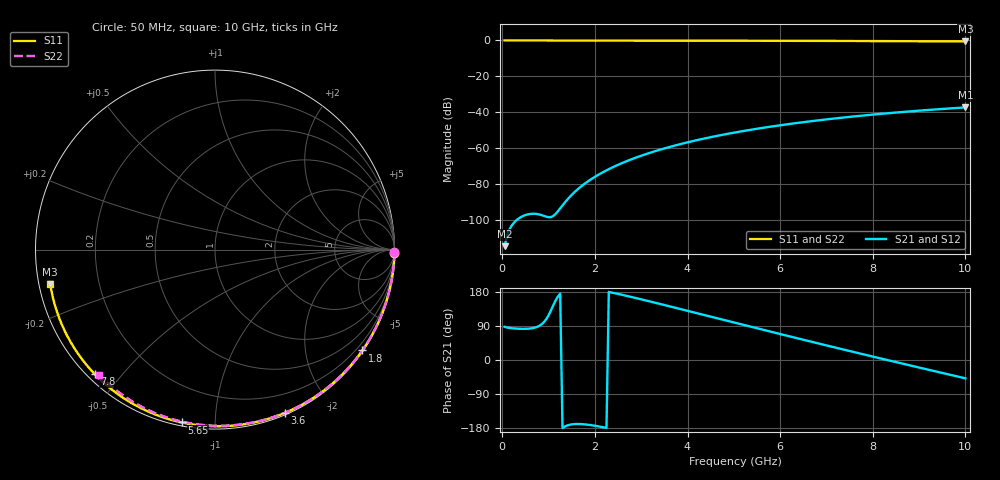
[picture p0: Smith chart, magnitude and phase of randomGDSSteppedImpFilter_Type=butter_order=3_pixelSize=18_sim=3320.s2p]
! freq	dB(S11)	phase(S11)	dB(S12)	phase(S12)
!  dB(S21)	phase(S21)	dB(S22)	phase(S22)
!S-par simulation data
#  GHz  S  DB  R 50
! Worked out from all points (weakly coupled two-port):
!   200 points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, 50 MHz to 10 GHz, reference 50 ohm
!   highest |S21| = -37.25 dB at 10 GHz (marker M1); lowest = -114.5 dB at 50 MHz (marker M2)
!   lowest |S11| = -0.6 dB at 10 GHz (marker M3), VSWR 31.13, Z = 1.62 - j5.2 ohm
!   |S11| at or under -10 dB: nowhere
!   |S22| runs from -0.4 to 0.0 dB; largest |S21 - S12| = 0
!   S11 on the Smith chart (normalised r, x): 50 MHz: open; 1.8 GHz: 0.03, -3.23; 3.6 GHz: 0.02, -1.51; 5.65 GHz: 0.02, -0.83; 7.8 GHz: 0.02, -0.42; 10 GHz: 0.03, -0.10
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0.05  -0.00 -1.0  -114.47 87.6  -114.47 87.6  -0.00 -0.8
0.45  -0.01 -8.7  -97.64 82.2  -97.64 82.2  -0.01 -6.9
0.85  -0.02 -16.4  -97.21 94.3  -97.21 94.3  -0.02 -13.0
1.3  -0.03 -25.0  -91.78 -179.5  -91.78 -179.5  -0.02 -19.7
1.75  -0.04 -33.5  -80.27 -169.5  -80.27 -169.5  -0.03 -26.5
1.8  -0.04 -34.4  -79.31 -170.1  -79.31 -170.1  -0.03 -27.2
2.1  -0.05 -40.0  -74.35 -175.6  -74.35 -175.6  -0.04 -31.6
2.3  -0.06 -43.6  -71.61 179.6  -71.61 179.6  -0.04 -34.6
2.5  -0.06 -47.3  -69.19 174.3  -69.19 174.3  -0.05 -37.5
2.9  -0.07 -54.5  -65.05 163.0  -65.05 163.0  -0.06 -43.3
3.4  -0.08 -63.4  -60.82 148.1  -60.82 148.1  -0.07 -50.4
3.6  -0.09 -66.9  -59.34 142.0  -59.34 142.0  -0.07 -53.2
4.3  -0.11 -78.8  -54.91 120.6  -54.91 120.6  -0.09 -62.8
5.05  -0.14 -91.2  -51.08 97.5  -51.08 97.5  -0.11 -72.9
5.65  -0.17 -100.9  -48.52 79.2  -48.52 79.2  -0.13 -80.7
6.15  -0.20 -108.7  -46.65 64.0  -46.65 64.0  -0.15 -87.1
6.7  -0.23 -117.3  -44.83 47.4  -44.83 47.4  -0.18 -93.9
7.25  -0.27 -125.7  -43.20 31.0  -43.20 31.0  -0.21 -100.7
7.8  -0.31 -134.1  -41.75 14.8  -41.75 14.8  -0.25 -107.2
8.35  -0.37 -142.5  -40.44 -1.2  -40.44 -1.2  -0.29 -113.7
9.2  -0.46 -155.5  -38.67 -25.6  -38.67 -25.6  -0.36 -123.6
10  -0.56 -168.1  -37.25 -48.4  -37.25 -48.4  -0.45 -132.7
